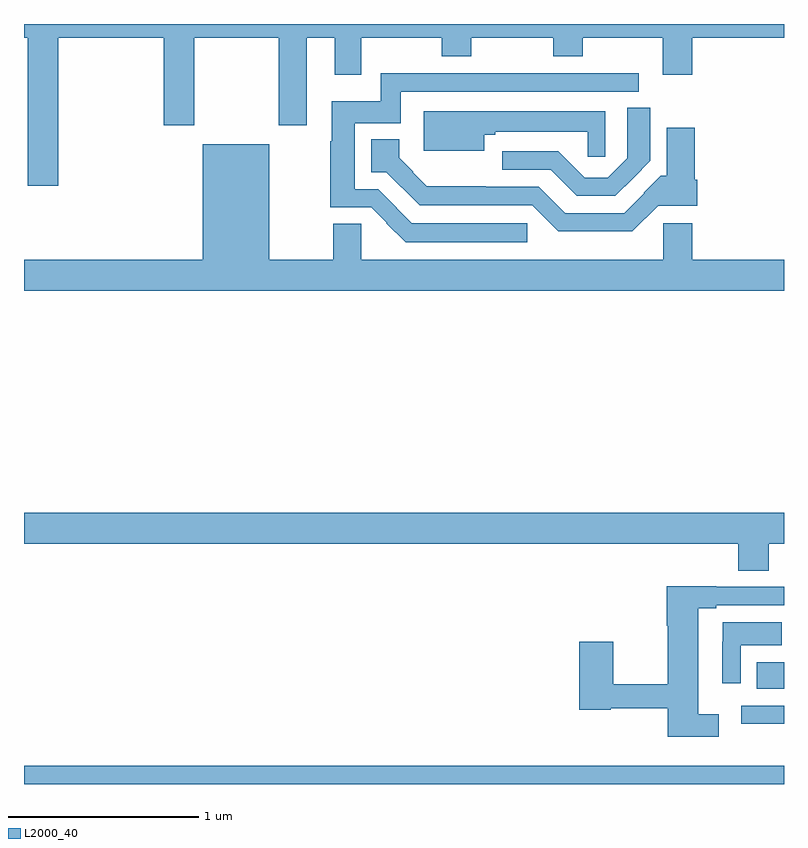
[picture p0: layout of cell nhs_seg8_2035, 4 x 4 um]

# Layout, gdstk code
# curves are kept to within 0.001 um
import gdstk
lib = gdstk.Library(unit=1e-6, precision=1e-09)
def R(c, l, rs):  # rectangles x0, y0, x1, y1
    for r in rs: c.add(gdstk.rectangle(r[:2], r[2:], *l))
def P(c, l, *ps):  # polygons
    for p in ps: c.add(gdstk.Polygon(p, *l))
L2000_40 = (2000, 40)

nhs_seg8_2035 = lib.new_cell('nhs_seg8_2035')
R(nhs_seg8_2035, L2000_40, [(239,1117.9,243,1117.996), (242.775,1118.217,243,1118.313), (242.857,1118.402,243,1118.542)])
P(nhs_seg8_2035, L2000_40, [(239.18,1121.828),(239.735,1121.828),(239.735,1121.367),(239.895,1121.367),(239.895,1121.828),(240.34,1121.828),(240.34,1121.367),(240.487,1121.367),(240.487,1121.828),(240.635,1121.828),(240.635,1121.634),(240.775,1121.634),(240.775,1121.828),(241.198,1121.828),(241.198,1121.729),(241.353,1121.729),(241.353,1121.828),(241.786,1121.828),(241.786,1121.729),(241.941,1121.729),(241.941,1121.828),(242.363,1121.828),(242.363,1121.634),(242.516,1121.634),(242.516,1121.828),(243,1121.828),(243,1121.9),(239,1121.9),(239,1121.828),(239.02,1121.828),(239.02,1121.049),(239.18,1121.049)],
  [(241.648,1120.851),(241.041,1120.851),(240.96,1120.932),(240.962,1120.934),(240.865,1121.031),(240.742,1121.031),(240.742,1121.378),(240.982,1121.378),(240.982,1121.544),(242.236,1121.544),(242.236,1121.64),(241.697,1121.64),(241.697,1121.642),(241.441,1121.642),(241.441,1121.64),(241.109,1121.64),(241.109,1121.642),(240.878,1121.642),(240.878,1121.494),(240.62,1121.494),(240.62,1121.282),(240.613,1121.282),(240.613,1120.935),(240.828,1120.935),(240.909,1120.854),(240.907,1120.852),(241.008,1120.751),(241.648,1120.751)],
  [(242.209,1121.091),(242.296,1121.179),(242.296,1121.459),(242.175,1121.459),(242.175,1121.193),(242.073,1121.091),(241.95,1121.091),(241.812,1121.229),(241.518,1121.229),(241.518,1121.133),(241.772,1121.133),(241.91,1120.995),(242.113,1120.995)],
  [(242.06,1121.44),(241.104,1121.44),(241.104,1121.234),(241.423,1121.234),(241.423,1121.318),(241.479,1121.318),(241.479,1121.333),(241.966,1121.333),(241.966,1121.202),(242.06,1121.202)],
  [(242.337,1120.944),(242.544,1120.944),(242.544,1121.079),(242.531,1121.079),(242.531,1121.353),(242.384,1121.353),(242.384,1121.101),(242.35,1121.101),(242.262,1121.013),(242.265,1121.01),(242.16,1120.905),(241.848,1120.905),(241.71,1121.043),(241.43,1121.043),(241.43,1121.045),(241.121,1121.045),(241.046,1121.119),(241.049,1121.122),(240.976,1121.195),(240.976,1121.293),(240.827,1121.293),(240.827,1121.12),(240.907,1121.12),(241.082,1120.947),(241.674,1120.947),(241.813,1120.808),(242.201,1120.808)],
  [(243,1120.66),(242.516,1120.66),(242.516,1120.851),(242.365,1120.851),(242.365,1120.66),(240.774,1120.66),(240.774,1120.85),(240.628,1120.85),(240.628,1120.66),(240.292,1120.66),(240.292,1121.266),(239.942,1121.266),(239.942,1120.66),(239,1120.66),(239,1120.496),(243,1120.496)],
  [(242.919,1119.164),(243,1119.164),(243,1119.328),(239,1119.328),(239,1119.164),(242.759,1119.164),(242.759,1119.022),(242.919,1119.022)],
  [(242.656,1118.267),(242.548,1118.267),(242.548,1118.825),(242.644,1118.825),(242.644,1118.841),(243,1118.841),(243,1118.937),(242.644,1118.937),(242.644,1118.94),(242.384,1118.94),(242.384,1118.734),(242.389,1118.734),(242.389,1118.426),(242.1,1118.426),(242.1,1118.65),(241.922,1118.65),(241.922,1118.29),(242.088,1118.29),(242.088,1118.298),(242.389,1118.298),(242.389,1118.15),(242.656,1118.15)],
  [(242.772,1118.63),(242.989,1118.63),(242.989,1118.751),(242.677,1118.751),(242.677,1118.648),(242.676,1118.648),(242.676,1118.43),(242.772,1118.43)])

lib.write_gds('nhs_seg8_2035.gds')
